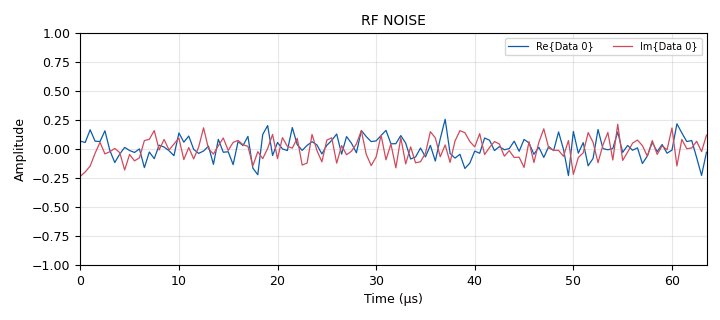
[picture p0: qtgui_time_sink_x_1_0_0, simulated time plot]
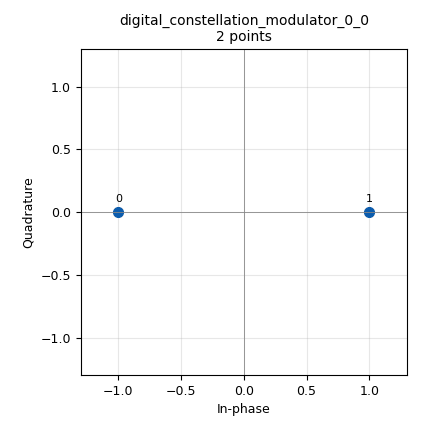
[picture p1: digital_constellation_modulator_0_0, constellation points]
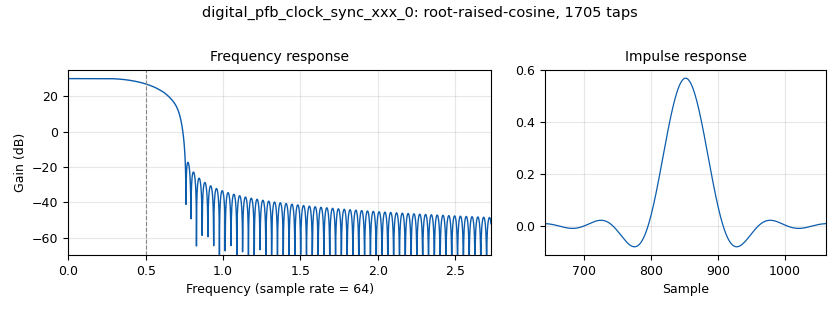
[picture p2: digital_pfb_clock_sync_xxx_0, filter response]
options:
  parameters:
    generate_options: qt_gui
    id: RS_CC_TX_RCV
    output_language: python
    title: Not titled yet
  states: {}

blocks:
- name: constel
  id: variable_constellation
  parameters:
    const_points: digital.psk_2()[0]
    dims: '1'
    normalization: digital.constellation.AMPLITUDE_NORMALIZATION
    precision: '8'
    rot_sym: '4'
    soft_dec_lut: '''auto'''
    sym_map: digital.psk_2()[1]
    type: calcdist
  states: {}
- name: samp_rate
  id: variable
  parameters:
    value: '2000000'
  states: {}
- name: variable_cc_decoder_def_0
  id: variable_cc_decoder_def
  parameters:
    framebits: '2072'
    k: '7'
    mode: fec.CC_STREAMING
    ndim: '0'
    padding: 'False'
    polys: '[79,-109]'
    rate: '2'
    state_end: '-1'
    state_start: '0'
  states: {}
- name: variable_cc_encoder_def_0
  id: variable_cc_encoder_def
  parameters:
    framebits: '2072'
    k: '7'
    mode: fec.CC_STREAMING
    ndim: '0'
    padding: 'False'
    polys: '[79,-109]'
    rate: '2'
    state_start: '0'
  states: {}
- name: HighDataRate_Modem_Decode_RS_0
  id: HighDataRate_Modem_Decode_RS
  parameters:
    dual_basis: 'False'
    interleave: '1'
    pad: '0'
  states: {}
- name: HighDataRate_Modem_Encode_RS_0
  id: HighDataRate_Modem_Encode_RS
  parameters:
    dual_basis: 'False'
    interleave: '1'
    pad: '0'
  states: {}
- name: HighDataRate_Modem_Frame_Extract_xx_0
  id: HighDataRate_Modem_Frame_Extract_xx
  parameters:
    ASM_length: '32'
    buffer_length: '15000'
    frame_length: '2072'
    type: byte
  states: {}
- name: HighDataRate_Modem_Resolve_Phase_0
  id: HighDataRate_Modem_Resolve_Phase
  parameters:
    buffer_length: '120000'
    frame_length: '2072'
    threshold: '1'
    waveform: '1'
  states: {}
- name: HighDataRate_Modem_Tag_FrameASM_xx_0
  id: HighDataRate_Modem_Tag_FrameASM_xx
  parameters:
    ASM_length: '32'
    threshold: '1'
    type: byte
    waveform: '1'
  states: {}
- name: analog_noise_source_x_0
  id: analog_noise_source_x
  parameters:
    amp: 1/0.75/10
    noise_type: analog.GR_GAUSSIAN
    seed: '0'
    type: complex
  states: {}
- name: blocks_add_xx_0
  id: blocks_add_xx
  parameters:
    type: complex
  states: {}
- name: blocks_complex_to_real_0
  id: blocks_complex_to_real
  parameters: {}
  states: {}
- name: blocks_file_sink_0
  id: blocks_file_sink
  parameters:
    file: /home/davem/Github_Test/gr-HighDataRate_Modem/examples/High_Speed_FEP-Gateway_CCSDS_Reed-Solomon_CC_ZeroMQ/CCSDS_TTC_SINK
    type: byte
  states: {}
- name: blocks_file_source_0_0_0_0_0
  id: blocks_file_source
  parameters:
    affinity: '1'
    file: /home/davem/Github_Test/gr-HighDataRate_Modem/examples/High_Speed_FEP-Gateway_CCSDS_Reed-Solomon_CC_ZeroMQ/32bitASM_CCSDS_only
    repeat: 'True'
    type: byte
  states: {}
- name: blocks_file_source_0_0_0_0_0_0
  id: blocks_file_source
  parameters:
    affinity: '1'
    file: /home/davem/Github_Test/gr-HighDataRate_Modem/examples/High_Speed_FEP-Gateway_CCSDS_Reed-Solomon_CC_ZeroMQ/Just_CCSDS_Frame_counter
    repeat: 'True'
    type: byte
  states: {}
- name: blocks_multiply_const_vxx_2
  id: blocks_multiply_const_vxx
  parameters:
    const: '0.8'
    type: complex
  states: {}
- name: blocks_null_sink_1
  id: blocks_null_sink
  parameters:
    type: byte
  states: {}
- name: blocks_pack_k_bits_bb_0
  id: blocks_pack_k_bits_bb
  parameters:
    k: '8'
  states: {}
- name: blocks_pack_k_bits_bb_0_0
  id: blocks_pack_k_bits_bb
  parameters:
    k: '8'
  states: {}
- name: blocks_stream_demux_0
  id: blocks_stream_demux
  parameters:
    lengths: (32,2040)
    type: byte
  states: {}
- name: blocks_stream_mux_0
  id: blocks_stream_mux
  parameters:
    lengths: (32, 2040)
    type: byte
  states: {}
- name: blocks_stream_to_tagged_stream_0_0_0
  id: blocks_stream_to_tagged_stream
  parameters:
    len_tag_key: '"packet_len"'
    packet_len: '223'
    type: byte
  states: {}
- name: blocks_stream_to_tagged_stream_0_0_1
  id: blocks_stream_to_tagged_stream
  parameters:
    len_tag_key: '"packet_len"'
    packet_len: '2040'
    type: byte
  states: {}
- name: blocks_stream_to_vector_2_0
  id: blocks_stream_to_vector
  parameters:
    num_items: '223'
    type: byte
  states: {}
- name: blocks_stream_to_vector_2_0_0
  id: blocks_stream_to_vector
  parameters:
    affinity: '3'
    num_items: '255'
    type: byte
  states: {}
- name: blocks_tag_gate_0
  id: blocks_tag_gate
  parameters:
    propagate_tags: 'False'
    type: byte
  states: {}
- name: blocks_throttle_0_0
  id: blocks_throttle
  parameters:
    samples_per_second: samp_rate
    type: complex
  states: {}
- name: blocks_unpack_k_bits_bb_0_0_0_0_0
  id: blocks_unpack_k_bits_bb
  parameters:
    k: '8'
  states: {}
- name: blocks_vector_to_stream_0
  id: blocks_vector_to_stream
  parameters:
    num_items: '223'
    type: byte
  states: {}
- name: blocks_vector_to_stream_0_1
  id: blocks_vector_to_stream
  parameters:
    num_items: '255'
    type: byte
  states: {}
- name: digital_constellation_modulator_0_0
  id: digital_constellation_modulator
  parameters:
    constellation: constel
    differential: 'False'
    excess_bw: '0.5'
    samples_per_symbol: '2'
  states: {}
- name: digital_costas_loop_cc_0_0
  id: digital_costas_loop_cc
  parameters:
    order: '2'
    w: 2*3.14159/1000
  states: {}
- name: digital_pfb_clock_sync_xxx_0
  id: digital_pfb_clock_sync_xxx
  parameters:
    filter_size: '32'
    init_phase: '0'
    loop_bw: 3.14159/100.0
    max_dev: '1.5'
    osps: '1'
    sps: '2'
    taps: firdes.root_raised_cosine(32,64,1.0,0.5,1704)
    type: ccf
  states: {}
- name: fec_extended_decoder_0
  id: fec_extended_decoder
  parameters:
    decoder_list: variable_cc_decoder_def_0
    puncpat: '''11'''
    threadtype: capillary
  states: {}
- name: fec_extended_encoder_0
  id: fec_extended_encoder
  parameters:
    encoder_list: variable_cc_encoder_def_0
    puncpat: '''11'''
    threadtype: capillary
  states: {}
- name: qtgui_const_sink_x_0_0
  id: qtgui_const_sink_x
  parameters:
    gui_hint: 1,0
    legend: 'False'
    name: BPSK constellation
    size: '1024'
    type: complex
    update_time: '0.50'
  states: {}
- name: qtgui_time_sink_x_1_0_0
  id: qtgui_time_sink_x
  parameters:
    name: RF NOISE
    size: '128'
    srate: samp_rate
    type: complex
    update_time: '1.0'
  states: {}

connections:
- [HighDataRate_Modem_Decode_RS_0, '0', blocks_vector_to_stream_0, '0']
- [HighDataRate_Modem_Encode_RS_0, '0', blocks_vector_to_stream_0_1, '0']
- [HighDataRate_Modem_Frame_Extract_xx_0, '0', HighDataRate_Modem_Resolve_Phase_0, '0']
- [HighDataRate_Modem_Resolve_Phase_0, '0', blocks_stream_demux_0, '0']
- [HighDataRate_Modem_Tag_FrameASM_xx_0, '0', HighDataRate_Modem_Frame_Extract_xx_0, '0']
- [analog_noise_source_x_0, '0', blocks_add_xx_0, '1']
- [analog_noise_source_x_0, '0', qtgui_time_sink_x_1_0_0, '0']
- [blocks_add_xx_0, '0', blocks_throttle_0_0, '0']
- [blocks_complex_to_real_0, '0', fec_extended_decoder_0, '0']
- [blocks_file_source_0_0_0_0_0, '0', blocks_stream_mux_0, '0']
- [blocks_file_source_0_0_0_0_0_0, '0', blocks_stream_to_tagged_stream_0_0_0, '0']
- [blocks_multiply_const_vxx_2, '0', digital_pfb_clock_sync_xxx_0, '0']
- [blocks_pack_k_bits_bb_0, '0', digital_constellation_modulator_0_0, '0']
- [blocks_pack_k_bits_bb_0_0, '0', blocks_stream_to_vector_2_0_0, '0']
- [blocks_stream_demux_0, '0', blocks_null_sink_1, '0']
- [blocks_stream_demux_0, '1', blocks_pack_k_bits_bb_0_0, '0']
- [blocks_stream_mux_0, '0', fec_extended_encoder_0, '0']
- [blocks_stream_to_tagged_stream_0_0_0, '0', blocks_stream_to_vector_2_0, '0']
- [blocks_stream_to_tagged_stream_0_0_1, '0', blocks_stream_mux_0, '1']
- [blocks_stream_to_vector_2_0, '0', HighDataRate_Modem_Encode_RS_0, '0']
- [blocks_stream_to_vector_2_0_0, '0', HighDataRate_Modem_Decode_RS_0, '0']
- [blocks_tag_gate_0, '0', HighDataRate_Modem_Tag_FrameASM_xx_0, '0']
- [blocks_throttle_0_0, '0', blocks_multiply_const_vxx_2, '0']
- [blocks_unpack_k_bits_bb_0_0_0_0_0, '0', blocks_stream_to_tagged_stream_0_0_1, '0']
- [blocks_vector_to_stream_0, '0', blocks_file_sink_0, '0']
- [blocks_vector_to_stream_0_1, '0', blocks_unpack_k_bits_bb_0_0_0_0_0, '0']
- [digital_constellation_modulator_0_0, '0', blocks_add_xx_0, '0']
- [digital_costas_loop_cc_0_0, '0', blocks_complex_to_real_0, '0']
- [digital_costas_loop_cc_0_0, '0', qtgui_const_sink_x_0_0, '0']
- [digital_pfb_clock_sync_xxx_0, '0', digital_costas_loop_cc_0_0, '0']
- [fec_extended_decoder_0, '0', blocks_tag_gate_0, '0']
- [fec_extended_encoder_0, '0', blocks_pack_k_bits_bb_0, '0']

metadata:
  file_format: 1
  grc_version: 3.10.5.1
